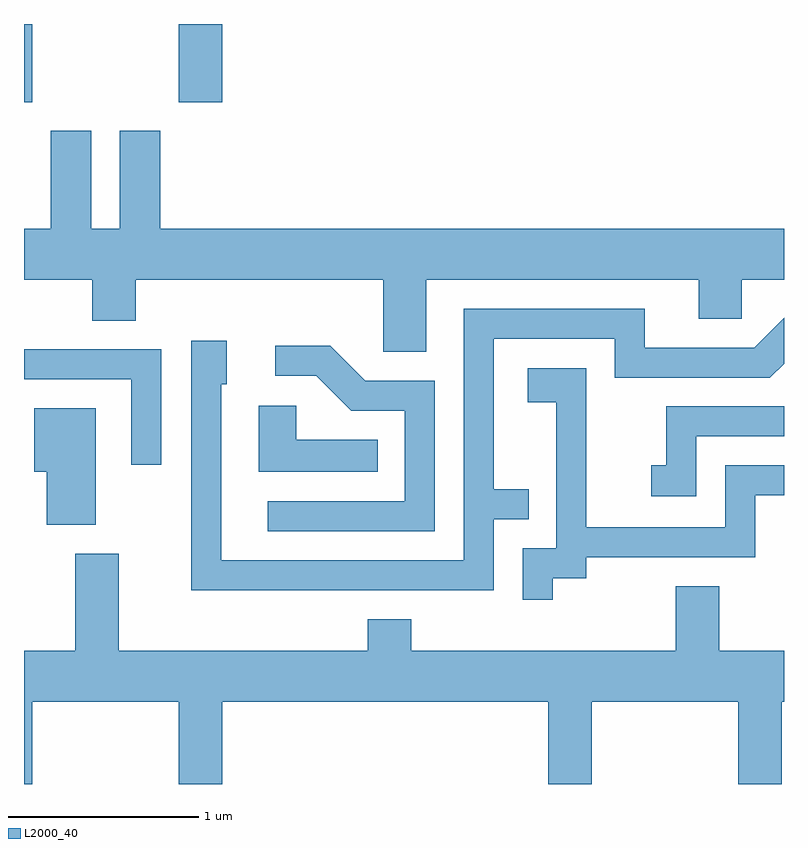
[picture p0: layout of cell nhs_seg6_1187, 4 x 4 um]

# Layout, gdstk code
import gdstk
lib = gdstk.Library(unit=1e-6, precision=1e-09)
def R(c, l, rs):  # rectangles x0, y0, x1, y1
    for r in rs: c.add(gdstk.rectangle(r[:2], r[2:], *l))
def P(c, l, *ps):  # polygons
    for p in ps: c.add(gdstk.Polygon(p, *l))
L2000_40 = (2000, 40)

nhs_seg6_1187 = lib.new_cell('nhs_seg6_1187')
R(nhs_seg6_1187, L2000_40, [(219.611,1659.751,219.654,1660.162), (220.426,1659.751,220.654,1660.162)])
P(nhs_seg6_1187, L2000_40, [(221.729,1658.816),(223.161,1658.816),(223.161,1658.611),(223.389,1658.611),(223.389,1658.816),(223.611,1658.816),(223.611,1659.084),(220.329,1659.084),(220.329,1659.599),(220.116,1659.599),(220.116,1659.084),(219.964,1659.084),(219.964,1659.599),(219.751,1659.599),(219.751,1659.084),(219.611,1659.084),(219.611,1658.816),(219.971,1658.816),(219.971,1658.601),(220.199,1658.601),(220.199,1658.816),(221.501,1658.816),(221.501,1658.436),(221.729,1658.436)],
  [(222.084,1657.556),(222.268,1657.556),(222.268,1657.714),(222.084,1657.714),(222.084,1658.506),(222.721,1658.506),(222.721,1658.301),(223.537,1658.301),(223.611,1658.375),(223.611,1658.616),(223.454,1658.459),(222.879,1658.459),(222.879,1658.664),(221.926,1658.664),(221.926,1657.339),(220.649,1657.339),(220.649,1658.266),(220.679,1658.266),(220.679,1658.494),(220.491,1658.494),(220.491,1657.181),(222.084,1657.181)],
  [(221.774,1658.284),(221.407,1658.284),(221.222,1658.469),(220.933,1658.469),(220.933,1658.311),(221.149,1658.311),(221.334,1658.126),(221.616,1658.126),(221.616,1657.649),(220.893,1657.649),(220.893,1657.491),(221.774,1657.491)],
  [(220.334,1658.449),(219.611,1658.449),(219.611,1658.291),(220.176,1658.291),(220.176,1657.843),(220.334,1657.843)],
  [(222.394,1657.246),(222.569,1657.246),(222.569,1657.356),(223.459,1657.356),(223.459,1657.681),(223.611,1657.681),(223.611,1657.839),(223.301,1657.839),(223.301,1657.514),(222.569,1657.514),(222.569,1658.349),(222.261,1658.349),(222.261,1658.171),(222.411,1658.171),(222.411,1657.404),(222.236,1657.404),(222.236,1657.133),(222.394,1657.133)],
  [(221.473,1657.974),(221.044,1657.974),(221.044,1658.154),(220.846,1658.154),(220.846,1657.806),(221.473,1657.806)],
  [(223.149,1657.991),(223.611,1657.991),(223.611,1658.149),(222.991,1658.149),(222.991,1657.839),(222.913,1657.839),(222.913,1657.676),(223.149,1657.676)],
  [(219.989,1658.139),(219.666,1658.139),(219.666,1657.806),(219.731,1657.806),(219.731,1657.526),(219.989,1657.526)],
  [(219.654,1656.596),(220.426,1656.596),(220.426,1656.162),(220.654,1656.162),(220.654,1656.596),(222.371,1656.596),(222.371,1656.162),(222.599,1656.162),(222.599,1656.596),(223.371,1656.596),(223.371,1656.162),(223.599,1656.162),(223.599,1656.596),(223.611,1656.596),(223.611,1656.864),(223.269,1656.864),(223.269,1657.204),(223.041,1657.204),(223.041,1656.864),(221.649,1656.864),(221.649,1657.029),(221.421,1657.029),(221.421,1656.864),(220.109,1656.864),(220.109,1657.374),(219.881,1657.374),(219.881,1656.864),(219.611,1656.864),(219.611,1656.162),(219.654,1656.162)])

lib.write_gds('nhs_seg6_1187.gds')
